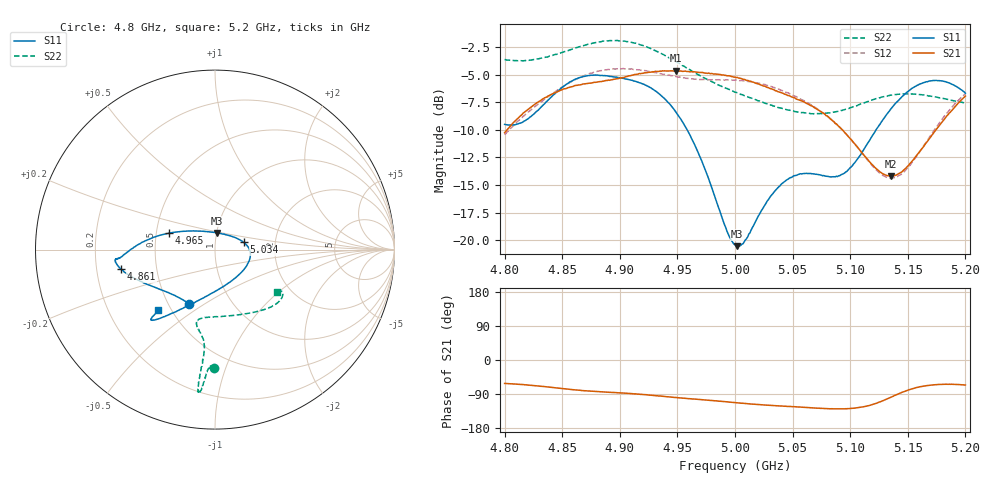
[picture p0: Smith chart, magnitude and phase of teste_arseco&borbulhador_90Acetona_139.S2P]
! Network Analyzer HP8722D
! Hewlett-Packard
! Data name: Linha & Wilkinson
! Saver's name: Rodrigo Anjos
! Comments: Teste da utilização de aquisição
! continua pelo VNA HP8722D
! Time and date: 17/4/2025 12:12
!  Frequency  S11  S21  S12  S22
# HZ  S  MA R 50
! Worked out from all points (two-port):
!   401 points, 4.8 GHz to 5.2 GHz, reference 50 ohm
!   highest |S21| = -4.66 dB at 4.949 GHz (marker M1); lowest = -14.2 dB at 5.135 GHz (marker M2)
!   |S21| within 3 dB of the highest: 4.827 GHz to 5.063 GHz (236.5 MHz wide, 4.78 % of centre); 5.193211 GHz to end of sweep
!   lowest |S11| = -20.6 dB at 5.002 GHz (marker M3), VSWR 1.21, Z = 50.4 + j9.45 ohm
!   |S11| at or under -10 dB: 4.958 GHz to 5.123 GHz (164.1 MHz wide, 3.26 % of centre)
!   |S22| runs from -8.6 to -1.9 dB; largest |S21 - S12| = 0.88
!   S11 on the Smith chart (normalised r, x): 4.8 GHz: 0.63, -0.43; 4.861 GHz: 0.31, -0.09; 4.965 GHz: 0.59, +0.12; 5.034 GHz: 1.38, +0.11; 5.2 GHz: 0.43, -0.37
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4.8e9  0.3345 -116.0  0.3065 -61.9  0.3 -176.1  0.6574 -90.7
4.818e9  0.3479 -135.1  0.3825 -65.5  0.3709 -175.4  0.6505 -92.3
4.861e9  0.5345 -168.1  0.5016 -78.8  0.5327 -178.7  0.7408 -94.9
4.867e9  0.5485 -170.5  0.507 -80.6  0.55 -179.8  0.7578 -95.0
4.899e9  0.5447 -174.8  0.5402 -86.7  0.597 173.9  0.8 -96.5
4.934e9  0.4609 179.3  0.5814 -95.1  0.5728 170.5  0.7083 -96.9
4.949e9  0.3786 171.7  0.5849 -98.9  0.5508 171.0  0.6425 -96.5
4.965e9  0.2702 160.2  0.5786 -103.3  0.536 172.6  0.5739 -96.1
4.993e9  0.1098 114.0  0.5552 -110.3  0.5324 174.9  0.4865 -98.7
5e9  0.09526 90.1  0.5478 -112.5  0.5312 174.9  0.4681 -100.1
5.002e9  0.09385 82.5  0.5461 -112.9  0.5284 174.9  0.4649 -100.6
5.009e9  0.1002 58.5  0.533 -114.7  0.5265 174.7  0.4504 -102.1
5.034e9  0.1655 14.1  0.4794 -120.6  0.4915 173.5  0.4047 -103.7
5.05e9  0.1938 -1.5  0.444 -123.2  0.4537 172.8  0.3847 -99.1
5.067e9  0.1997 -19.6  0.4051 -126.2  0.4068 172.6  0.3739 -89.7
5.096e9  0.2033 -70.5  0.3043 -128.6  0.3044 174.5  0.3917 -67.0
5.121e9  0.3068 -109.7  0.2144 -115.9  0.2125 -170.8  0.4346 -49.8
5.134e9  0.3844 -120.1  0.1953 -100.0  0.1909 -153.1  0.4521 -43.4
5.135e9  0.3911 -120.6  0.195 -98.6  0.1909 -151.4  0.4536 -42.9
5.148e9  0.462 -126.7  0.211 -81.9  0.2071 -132.0  0.46 -38.0
5.168e9  0.5244 -131.4  0.285 -67.2  0.2881 -113.5  0.4498 -33.1
5.2e9  0.4631 -132.9  0.4495 -66.0  0.4597 -108.1  0.4179 -34.6
